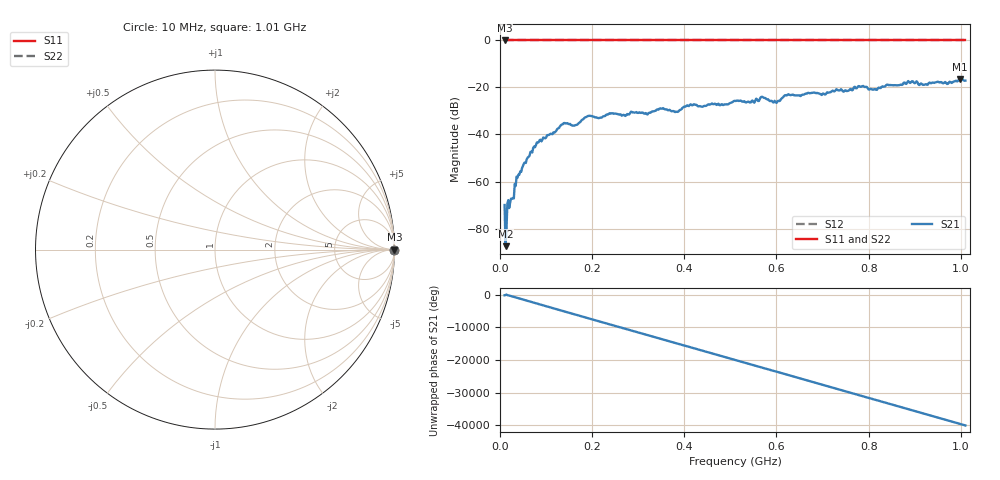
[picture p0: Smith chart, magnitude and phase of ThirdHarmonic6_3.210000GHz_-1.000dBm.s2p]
! 8/17/2025 9:46:23 AM
! C:\ANRITSUVNA\TEMP\TEMP.S2P
! CHANNEL.1
! TR.MEASUREMENT
! RAW.DATA
! RF.CORRECTION.OFF
! AVERAGING.OFF
! IF.BANDWIDTH: 5KHZ
! SWEEPTYPE:  FREQ.SWEEP(Linear)
! Reference Plane Port Info
! PORT:  PORT1  PORT2
! DISTANCE:  0  m  0  m
! TIME:  0  s  0  s
! PHASE.OFFSET:  0  deg.  0  deg.
! LOSS:  0  dB  0  dB
! REF.LOSS:  0  dB  0  dB
! REF.FREQ:  0  Hz  0  Hz
! Power Info
! POWER:  -20  dBm  -20  dBm
! EFF.POWER:  -20  dBm  -20  dBm
! SOURCE.ATTEN:  0  dB  0  dB
! TEST.ATTEN:  0  dB  0  dB
# GHZ S RI R 50.0
! FREQ.GHZ  S11RE  S11IM  S21RE  S21IM  S12RE  S12IM  S22RE  S22IM
!; PortSelection: Port_12
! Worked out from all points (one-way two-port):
!   501 points, 10 MHz to 1.01 GHz, reference 50 ohm
!   highest |S21| = -16.43 dB at 998 MHz (marker M1); lowest = -87.5 dB at 12 MHz (marker M2)
!   lowest |S11| = 0.0 dB at 10 MHz (marker M3)
!   |S11| at or under -10 dB: nowhere
!   |S22| runs from 0.0 to 0.0 dB; largest |S21 - S12| = 1.1
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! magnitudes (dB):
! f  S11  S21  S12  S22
! 10 MHz  0.0  -70.0  0.0  0.0
! 12 MHz  0.0  -87.5  0.0  0.0
! 16 MHz  0.0  -69.4  0.0  0.0
! 20 MHz  0.0  -71.3  0.0  0.0
! 26 MHz  0.0  -67.3  0.0  0.0
! 40 MHz  0.0  -57.1  0.0  0.0
! 76 MHz  0.0  -45.4  0.0  0.0
! 136 MHz  0.0  -35.7  0.0  0.0
! 162 MHz  0.0  -36.2  0.0  0.0
! 178 MHz  0.0  -33.8  0.0  0.0
! 344 MHz  0.0  -29.4  0.0  0.0
! 384 MHz  0.0  -30.3  0.0  0.0
! 410 MHz  0.0  -27.9  0.0  0.0
! 510 MHz  0.0  -25.7  0.0  0.0
! 570 MHz  0.0  -24.0  0.0  0.0
! 596 MHz  0.0  -25.7  0.0  0.0
! 622 MHz  0.0  -23.4  0.0  0.0
! 678 MHz  0.0  -22.3  0.0  0.0
! 814 MHz  0.0  -20.7  0.0  0.0
! 844 MHz  0.0  -19.0  0.0  0.0
! 998 MHz  0.0  -16.4  0.0  0.0
! 1.01 GHz  0.0  -17.1  0.0  0.0
